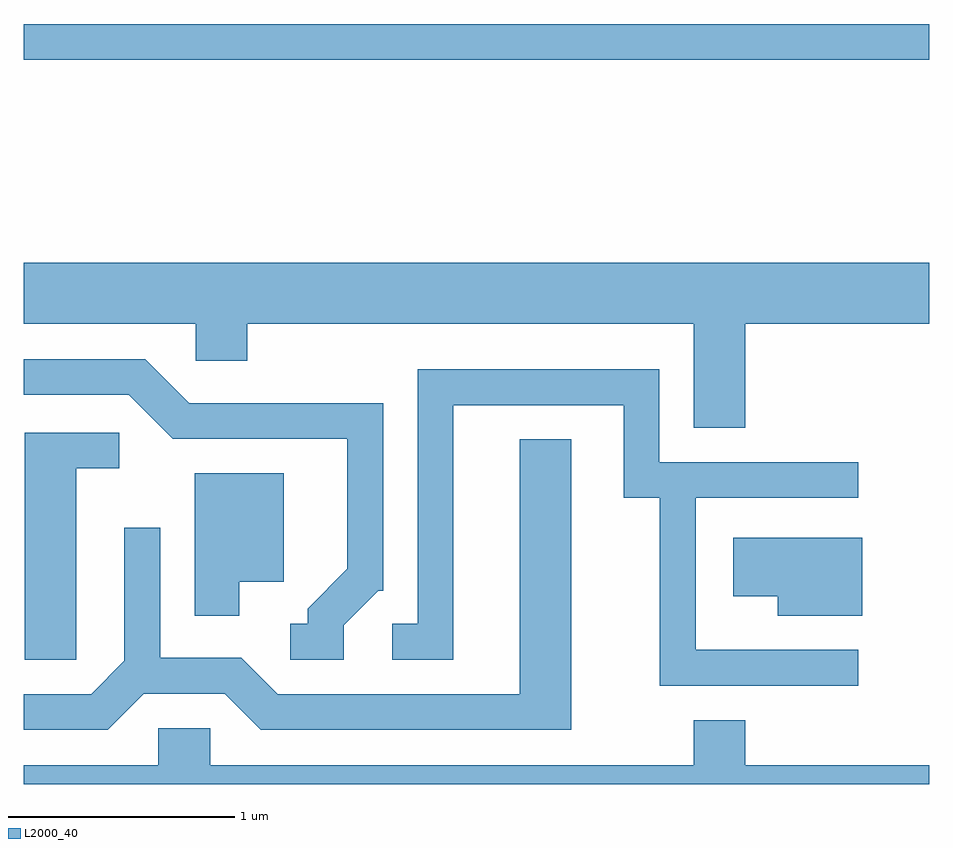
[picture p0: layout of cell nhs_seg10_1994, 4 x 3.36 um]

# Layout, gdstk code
import gdstk
lib = gdstk.Library(unit=1e-6, precision=1e-09)
def R(c, l, rs):  # rectangles x0, y0, x1, y1
    for r in rs: c.add(gdstk.rectangle(r[:2], r[2:], *l))
def P(c, l, *ps):  # polygons
    for p in ps: c.add(gdstk.Polygon(p, *l))
L2000_40 = (2000, 40)

nhs_seg10_1994 = lib.new_cell('nhs_seg10_1994')
R(nhs_seg10_1994, L2000_40, [(243.611,2141.721,247.611,2141.879)])
P(nhs_seg10_1994, L2000_40, [(246.799,2140.556),(247.611,2140.556),(247.611,2140.824),(243.611,2140.824),(243.611,2140.556),(244.371,2140.556),(244.371,2140.391),(244.599,2140.391),(244.599,2140.556),(246.571,2140.556),(246.571,2140.096),(246.799,2140.096)],
  [(245.024,2139.224),(245.177,2139.376),(245.199,2139.376),(245.199,2140.204),(244.342,2140.204),(244.147,2140.399),(243.611,2140.399),(243.611,2140.241),(244.074,2140.241),(244.269,2140.046),(245.041,2140.046),(245.041,2139.472),(244.866,2139.297),(244.866,2139.229),(244.788,2139.229),(244.788,2139.071),(245.024,2139.071)],
  [(247.298,2139.114),(246.579,2139.114),(246.579,2139.786),(247.298,2139.786),(247.298,2139.944),(246.419,2139.944),(246.419,2140.354),(245.351,2140.354),(245.351,2139.229),(245.238,2139.229),(245.238,2139.071),(245.509,2139.071),(245.509,2140.196),(246.261,2140.196),(246.261,2139.786),(246.421,2139.786),(246.421,2138.956),(247.298,2138.956)],
  [(243.844,2139.916),(244.033,2139.916),(244.033,2140.074),(243.616,2140.074),(243.616,2139.071),(243.844,2139.071)],
  [(244.142,2138.921),(244.499,2138.921),(244.659,2138.761),(246.029,2138.761),(246.029,2140.044),(245.801,2140.044),(245.801,2138.919),(244.732,2138.919),(244.572,2139.079),(244.214,2139.079),(244.214,2139.653),(244.056,2139.653),(244.056,2139.067),(243.909,2138.919),(243.611,2138.919),(243.611,2138.761),(243.982,2138.761)],
  [(244.564,2139.416),(244.759,2139.416),(244.759,2139.894),(244.366,2139.894),(244.366,2139.266),(244.564,2139.266)],
  [(247.314,2139.609),(246.746,2139.609),(246.746,2139.351),(246.941,2139.351),(246.941,2139.266),(247.314,2139.266)],
  [(247.611,2138.604),(246.799,2138.604),(246.799,2138.804),(246.571,2138.804),(246.571,2138.604),(244.434,2138.604),(244.434,2138.769),(244.206,2138.769),(244.206,2138.604),(243.611,2138.604),(243.611,2138.522),(247.611,2138.522)])

lib.write_gds('nhs_seg10_1994.gds')
